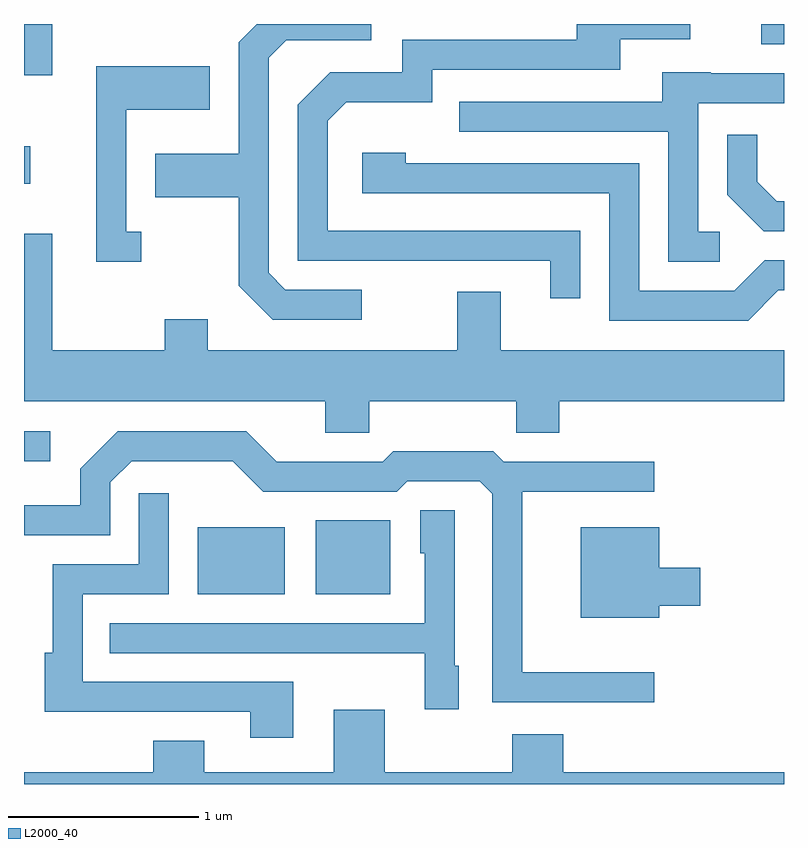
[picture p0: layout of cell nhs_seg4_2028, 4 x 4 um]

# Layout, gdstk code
import gdstk
lib = gdstk.Library(unit=1e-6, precision=1e-09)
def R(c, l, rs):  # rectangles x0, y0, x1, y1
    for r in rs: c.add(gdstk.rectangle(r[:2], r[2:], *l))
def P(c, l, *ps):  # polygons
    for p in ps: c.add(gdstk.Polygon(p, *l))
L2000_40 = (2000, 40)

nhs_seg4_2028 = lib.new_cell('nhs_seg4_2028')
R(nhs_seg4_2028, L2000_40, [(244.526,1366.981,244.984,1367.334), (245.146,1366.981,245.539,1367.369), (243.611,1367.681,243.748,1367.839), (243.611,1369.141,243.644,1369.339), (243.611,1369.711,243.759,1369.982), (247.491,1369.876,247.611,1369.982)])
P(nhs_seg4_2028, L2000_40, [(246.539,1368.894),(245.209,1368.894),(245.209,1369.474),(245.307,1369.571),(245.759,1369.571),(245.759,1369.741),(246.749,1369.741),(246.749,1369.901),(247.118,1369.901),(247.118,1369.982),(246.521,1369.982),(246.521,1369.899),(245.601,1369.899),(245.601,1369.729),(245.224,1369.729),(245.051,1369.557),(245.051,1368.736),(246.381,1368.736),(246.381,1368.538),(246.539,1368.538)],
  [(245.388,1368.584),(244.987,1368.584),(244.899,1368.672),(244.899,1369.804),(244.992,1369.896),(245.438,1369.896),(245.438,1369.982),(244.837,1369.982),(244.741,1369.887),(244.741,1369.299),(244.301,1369.299),(244.301,1369.071),(244.741,1369.071),(244.741,1368.604),(244.919,1368.426),(245.388,1368.426)],
  [(244.228,1368.889),(244.149,1368.889),(244.149,1369.531),(244.589,1369.531),(244.589,1369.759),(243.991,1369.759),(243.991,1368.731),(244.228,1368.731)],
  [(247.273,1368.889),(247.159,1368.889),(247.159,1369.566),(247.611,1369.566),(247.611,1369.724),(247.225,1369.724),(247.225,1369.729),(246.971,1369.729),(246.971,1369.574),(245.903,1369.574),(245.903,1369.416),(247.001,1369.416),(247.001,1368.731),(247.273,1368.731)],
  [(247.611,1369.049),(247.572,1369.049),(247.469,1369.152),(247.469,1369.398),(247.311,1369.398),(247.311,1369.084),(247.504,1368.891),(247.611,1368.891)],
  [(247.582,1368.581),(247.611,1368.581),(247.611,1368.739),(247.509,1368.739),(247.349,1368.579),(246.849,1368.579),(246.849,1369.249),(245.619,1369.249),(245.619,1369.304),(245.391,1369.304),(245.391,1369.091),(246.691,1369.091),(246.691,1368.421),(247.422,1368.421)],
  [(245.196,1367.831),(245.429,1367.831),(245.429,1367.996),(246.201,1367.996),(246.201,1367.831),(246.429,1367.831),(246.429,1367.996),(247.611,1367.996),(247.611,1368.264),(246.119,1368.264),(246.119,1368.574),(245.891,1368.574),(245.891,1368.264),(244.579,1368.264),(244.579,1368.429),(244.351,1368.429),(244.351,1368.264),(243.759,1368.264),(243.759,1368.879),(243.611,1368.879),(243.611,1367.996),(245.196,1367.996)],
  [(246.928,1366.569),(246.234,1366.569),(246.234,1367.521),(246.928,1367.521),(246.928,1367.679),(246.137,1367.679),(246.082,1367.734),(245.554,1367.734),(245.499,1367.679),(244.942,1367.679),(244.782,1367.839),(244.104,1367.839),(243.906,1367.642),(243.906,1367.449),(243.611,1367.449),(243.611,1367.291),(244.064,1367.291),(244.064,1367.569),(244.177,1367.681),(244.709,1367.681),(244.869,1367.521),(245.572,1367.521),(245.627,1367.576),(246.009,1367.576),(246.076,1367.509),(246.076,1366.411),(246.928,1366.411)],
  [(245.029,1366.519),(243.919,1366.519),(243.919,1366.981),(244.374,1366.981),(244.374,1367.513),(244.216,1367.513),(244.216,1367.139),(243.761,1367.139),(243.761,1366.674),(243.721,1366.674),(243.721,1366.361),(244.801,1366.361),(244.801,1366.226),(245.029,1366.226)],
  [(245.899,1366.604),(245.879,1366.604),(245.879,1367.424),(245.696,1367.424),(245.696,1367.196),(245.721,1367.196),(245.721,1366.829),(244.063,1366.829),(244.063,1366.671),(245.721,1366.671),(245.721,1366.376),(245.899,1366.376)],
  [(246.954,1366.921),(247.169,1366.921),(247.169,1367.119),(246.954,1367.119),(246.954,1367.334),(246.541,1367.334),(246.541,1366.856),(246.954,1366.856)],
  [(247.611,1366.044),(246.449,1366.044),(246.449,1366.244),(246.181,1366.244),(246.181,1366.044),(245.509,1366.044),(245.509,1366.374),(245.241,1366.374),(245.241,1366.044),(244.559,1366.044),(244.559,1366.209),(244.291,1366.209),(244.291,1366.044),(243.611,1366.044),(243.611,1365.982),(247.611,1365.982)])

lib.write_gds('nhs_seg4_2028.gds')
